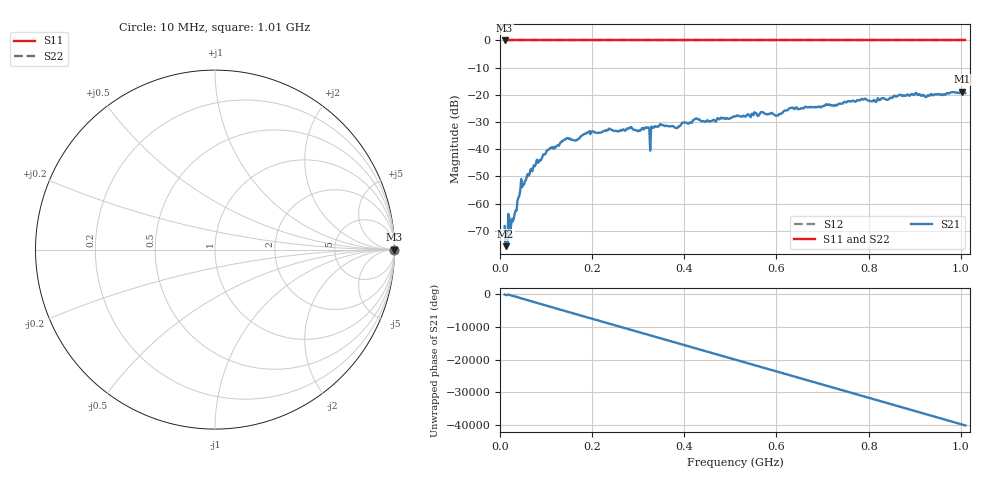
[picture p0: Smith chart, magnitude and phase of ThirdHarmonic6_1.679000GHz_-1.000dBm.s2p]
! 8/16/2025 8:09:00 PM
! C:\ANRITSUVNA\TEMP\TEMP.S2P
! CHANNEL.1
! TR.MEASUREMENT
! RAW.DATA
! RF.CORRECTION.OFF
! AVERAGING.OFF
! IF.BANDWIDTH: 5KHZ
! SWEEPTYPE:  FREQ.SWEEP(Linear)
! Reference Plane Port Info
! PORT:  PORT1  PORT2
! DISTANCE:  0  m  0  m
! TIME:  0  s  0  s
! PHASE.OFFSET:  0  deg.  0  deg.
! LOSS:  0  dB  0  dB
! REF.LOSS:  0  dB  0  dB
! REF.FREQ:  0  Hz  0  Hz
! Power Info
! POWER:  -20  dBm  -20  dBm
! EFF.POWER:  -20  dBm  -20  dBm
! SOURCE.ATTEN:  0  dB  0  dB
! TEST.ATTEN:  0  dB  0  dB
# GHZ S RI R 50.0
! FREQ.GHZ  S11RE  S11IM  S21RE  S21IM  S12RE  S12IM  S22RE  S22IM
!; PortSelection: Port_12
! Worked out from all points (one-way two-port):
!   501 points, 10 MHz to 1.01 GHz, reference 50 ohm
!   highest |S21| = -18.77 dB at 1.002 GHz (marker M1); lowest = -75.6 dB at 12 MHz (marker M2)
!   lowest |S11| = 0.0 dB at 10 MHz (marker M3)
!   |S11| at or under -10 dB: nowhere
!   |S22| runs from 0.0 to 0.0 dB; largest |S21 - S12| = 1.1
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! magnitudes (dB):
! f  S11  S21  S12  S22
! 10 MHz  0.0  -68.2  0.0  0.0
! 12 MHz  0.0  -75.6  0.0  0.0
! 22 MHz  0.0  -71.3  0.0  0.0
! 26 MHz  0.0  -65.6  0.0  0.0
! 48 MHz  0.0  -53.9  0.0  0.0
! 76 MHz  0.0  -46.3  0.0  0.0
! 106 MHz  0.0  -40.2  0.0  0.0
! 178 MHz  0.0  -34.9  0.0  0.0
! 282 MHz  0.0  -32.0  0.0  0.0
! 318 MHz  0.0  -32.1  0.0  0.0
! 328 MHz  0.0  -31.7  0.0  0.0
! 332 MHz  0.0  -32.1  0.0  0.0
! 344 MHz  0.0  -31.6  0.0  0.0
! 382 MHz  0.0  -32.1  0.0  0.0
! 424 MHz  0.0  -28.8  0.0  0.0
! 510 MHz  0.0  -27.9  0.0  0.0
! 600 MHz  0.0  -27.6  0.0  0.0
! 632 MHz  0.0  -24.8  0.0  0.0
! 678 MHz  0.0  -24.5  0.0  0.0
! 844 MHz  0.0  -21.6  0.0  0.0
! 1.002 GHz  0.0  -18.8  0.0  0.0
! 1.01 GHz  0.0  -19.4  0.0  0.0
